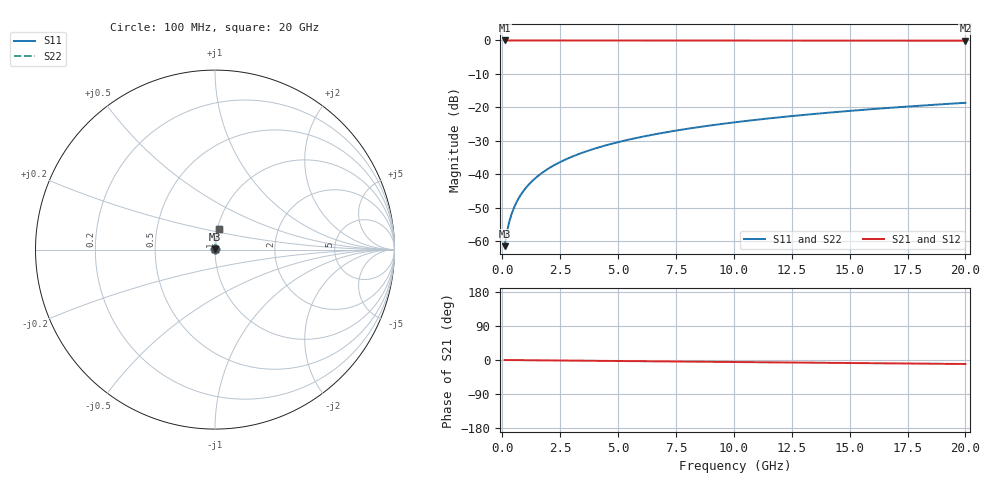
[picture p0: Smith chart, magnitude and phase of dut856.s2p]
! Touchstone file exported from HFSS 2026.1.0
!  File:  C:/ffzhzh/LocalFiles/Ansys_Project_Files/temp_train_TSV_856_1783185243_18472.aedt
!  Generated:  01:15:58 AM Jul  5, 2026
!  Design:  TSV
!  Project:  temp_train_TSV_856_1783185243_18472
! Variables:
!  h_bsmrdl = 2um
!  h_ox = 20um
!  h_rdl = 5um
!  h_sub = 74.7um
!  h_tmrdl = 5um
!  h_tsv = 74.7um
!  h_via = 3um
!  l_bsmrdl = 300um
!  l_sub = 407.92um
!  l_tmrdl = 200um
!  m_sub = 200um
!  pitch = 55.09um
!  r_tsv = 3.96um
!  s_tmrdl = 10um
!  w_bsmrdl = 18um
!  w_sub = 500um
!  w_tmrdl = 12um
!  x_tsv_center1 = 206um
!  x_tsv_center2 = 524um
!  x_tsv_center3 = 736um
!  x_tsv_center4 = 1054um
!  x_tsv_center5 = 1266um
!  x_tsv_center6 = 1584um
# GHz S MA R 50.000000
! Terminal data exported
! Port[1] = TSV1_1_T1
! Port[2] = TSV1_1_T2
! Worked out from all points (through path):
!   200 points, 100 MHz to 20 GHz, reference 50 ohm
!   highest |S21| = 0.00 dB at 100 MHz (marker M1); lowest = -0.1 dB at 20 GHz (marker M2)
!   group delay of S21, straight-line fit = 1.46 ps
!   lowest |S11| = -61.4 dB at 100 MHz (marker M3), VSWR 1.00, Z = 50.1 + j0.0628 ohm
!   |S11| at or under -10 dB: start of sweep to end of sweep
!   |S22| runs from -61.4 to -18.6 dB; largest |S21 - S12| = 2.2e-15
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0.1  0.0008505 47.5  0.9994 -0.1  0.9994 -0.1  0.0008505 47.5
! Gamma 0 0 0 0
! Port Impedance 50 0 50 0
0.2  0.001381 64.9  0.9994 -0.1  0.9994 -0.1  0.001381 64.9
0.3  0.001963 72.3  0.9994 -0.2  0.9994 -0.2  0.001963 72.3
0.4  0.00256 76.1  0.9994 -0.2  0.9994 -0.2  0.00256 76.1
0.5  0.003161 78.5  0.9994 -0.3  0.9994 -0.3  0.003161 78.5
0.7  0.004372 81.3  0.9994 -0.4  0.9994 -0.4  0.004372 81.3
0.8  0.004979 82.2  0.9993 -0.4  0.9993 -0.4  0.004979 82.2
1  0.006196 83.4  0.9993 -0.5  0.9993 -0.5  0.006196 83.4
1.2  0.007414 84.2  0.9993 -0.7  0.9993 -0.7  0.007414 84.2
1.4  0.008633 84.7  0.9993 -0.8  0.9993 -0.8  0.008633 84.7
1.7  0.01046 85.2  0.9992 -0.9  0.9992 -0.9  0.01046 85.2
2  0.01229 85.4  0.9992 -1.1  0.9992 -1.1  0.01229 85.4
2.7  0.01654 85.7  0.999 -1.5  0.999 -1.5  0.01654 85.7
3.5  0.02137 85.6  0.9988 -1.9  0.9988 -1.9  0.02137 85.6
4.2  0.02557 85.4  0.9986 -2.3  0.9986 -2.3  0.02557 85.4
5  0.03034 85.1  0.9984 -2.7  0.9984 -2.7  0.03034 85.1
6.8  0.04101 84.4  0.9978 -3.6  0.9978 -3.6  0.04101 84.4
8.3  0.04983 83.8  0.9972 -4.4  0.9972 -4.4  0.04983 83.8
10.1  0.06037 83.0  0.9964 -5.4  0.9964 -5.4  0.06037 83.0
13.4  0.07956 81.4  0.9948 -7.1  0.9948 -7.1  0.07956 81.4
16.7  0.09857 79.9  0.9929 -8.8  0.9929 -8.8  0.09857 79.9
20  0.1174 78.3  0.9907 -10.6  0.9907 -10.6  0.1174 78.3
